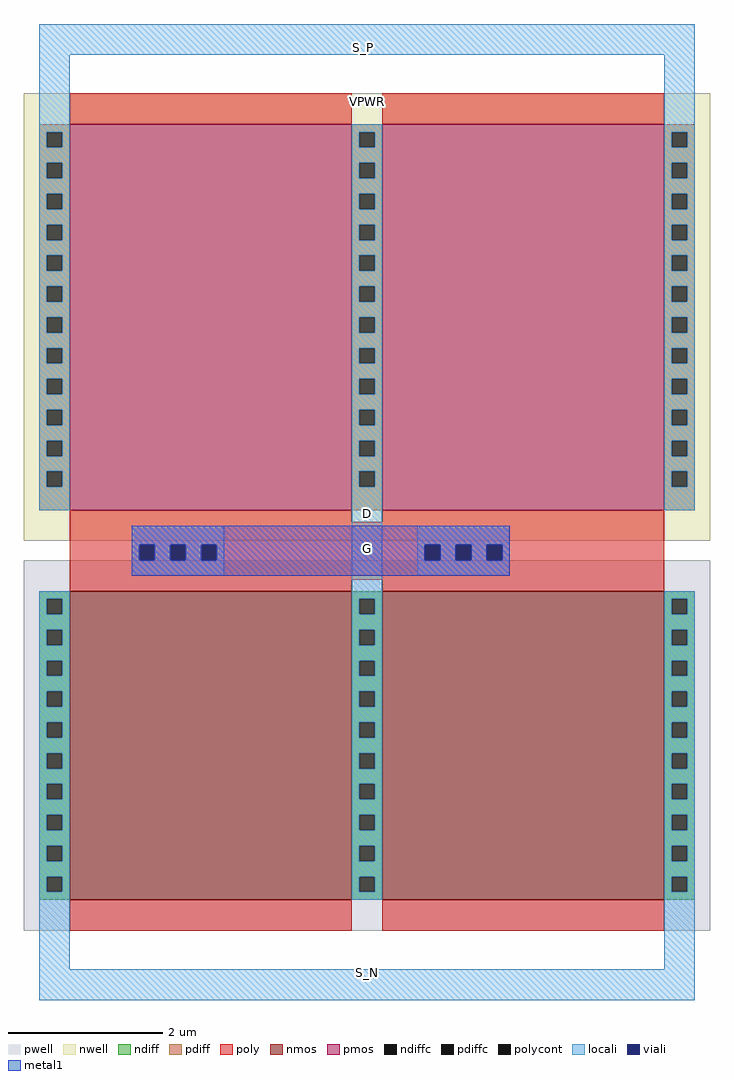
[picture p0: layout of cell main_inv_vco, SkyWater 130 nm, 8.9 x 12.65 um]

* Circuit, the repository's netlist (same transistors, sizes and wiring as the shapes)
* NGSPICE file created from main_inv_vco.ext - technology: sky130A

.subckt nmos_vco D G S VSUBS
X0 D G S VSUBS sky130_fd_pr__nfet_01v8 ad=0.8 pd=4.4 as=1.6 ps=8.8 w=4 l=3.65 M=2
.ends

.subckt pmos_vco D G S VPWR
X0 S G D VPWR sky130_fd_pr__pfet_01v8 ad=2 pd=10.8 as=1 ps=5.4 w=5 l=3.65 M=2
.ends

.subckt main_inv_vco D G S_P S_N VPWR
Xnmos_vco_0 D G S_N VSUBS nmos_vco
Xpmos_vco_0 D G S_P VPWR pmos_vco
.ends

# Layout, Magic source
magic
tech sky130A
<< nwell >>
rect 1425 500 1465 540
rect 1830 -40 1890 540
<< poly >>
rect 1060 -45 1425 -40
rect 1060 -65 1150 -45
rect 1170 -65 1190 -45
rect 1210 -65 1230 -45
rect 1250 -65 1425 -45
rect 1465 -45 1830 -40
rect 1465 -65 1520 -45
rect 1540 -65 1560 -45
rect 1580 -65 1600 -45
rect 1620 -65 1830 -45
<< polycont >>
rect 1150 -65 1170 -45
rect 1190 -65 1210 -45
rect 1230 -65 1250 -45
rect 1520 -65 1540 -45
rect 1560 -65 1580 -45
rect 1600 -65 1620 -45
<< locali >>
rect 1020 590 1870 630
rect 1020 500 1060 590
rect 1830 500 1870 590
rect 1140 -45 1260 -20
rect 1140 -65 1150 -45
rect 1170 -65 1190 -45
rect 1210 -65 1230 -45
rect 1250 -65 1260 -45
rect 1140 -85 1260 -65
rect 1425 -105 1465 0
rect 1510 -45 1630 -20
rect 1510 -65 1520 -45
rect 1540 -65 1560 -45
rect 1580 -65 1600 -45
rect 1620 -65 1630 -45
rect 1510 -85 1630 -65
rect 1020 -595 1060 -505
rect 1830 -595 1870 -505
rect 1020 -635 1870 -595
<< viali >>
rect 1150 -65 1170 -45
rect 1190 -65 1210 -45
rect 1230 -65 1250 -45
rect 1520 -65 1540 -45
rect 1560 -65 1580 -45
rect 1600 -65 1620 -45
<< metal1 >>
rect 1140 -45 1630 -20
rect 1140 -65 1150 -45
rect 1170 -65 1190 -45
rect 1210 -65 1230 -45
rect 1250 -65 1520 -45
rect 1540 -65 1560 -45
rect 1580 -65 1600 -45
rect 1620 -65 1630 -45
rect 1140 -85 1630 -65
use nmos_vco  nmos_vco_0
transform 1 0 1060 0 1 -505
box -60 -130 830 490
use pmos_vco  pmos_vco_0
transform 1 0 1060 0 1 0
box -60 -90 830 630
<< labels >>
rlabel locali 1445 -5 1445 -5 1 D
port 1 n
rlabel metal1 1445 -50 1445 -50 1 G
port 2 n
rlabel locali 1440 600 1440 600 1 S_P
port 3 n
rlabel locali 1445 -600 1445 -600 1 S_N
port 4 n
rlabel nwell 1445 530 1445 530 1 VPWR
port 5 n
<< end >>

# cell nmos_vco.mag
magic
tech sky130A
<< pwell >>
rect -60 -40 830 440
<< nmos >>
rect 0 0 365 400
rect 405 0 770 400
<< ndiff >>
rect -40 390 0 400
rect -40 370 -30 390
rect -10 370 0 390
rect -40 350 0 370
rect -40 330 -30 350
rect -10 330 0 350
rect -40 310 0 330
rect -40 290 -30 310
rect -10 290 0 310
rect -40 270 0 290
rect -40 250 -30 270
rect -10 250 0 270
rect -40 230 0 250
rect -40 210 -30 230
rect -10 210 0 230
rect -40 190 0 210
rect -40 170 -30 190
rect -10 170 0 190
rect -40 150 0 170
rect -40 130 -30 150
rect -10 130 0 150
rect -40 110 0 130
rect -40 90 -30 110
rect -10 90 0 110
rect -40 70 0 90
rect -40 50 -30 70
rect -10 50 0 70
rect -40 30 0 50
rect -40 10 -30 30
rect -10 10 0 30
rect -40 0 0 10
rect 365 390 405 400
rect 365 370 375 390
rect 395 370 405 390
rect 365 350 405 370
rect 365 330 375 350
rect 395 330 405 350
rect 365 310 405 330
rect 365 290 375 310
rect 395 290 405 310
rect 365 270 405 290
rect 365 250 375 270
rect 395 250 405 270
rect 365 230 405 250
rect 365 210 375 230
rect 395 210 405 230
rect 365 190 405 210
rect 365 170 375 190
rect 395 170 405 190
rect 365 150 405 170
rect 365 130 375 150
rect 395 130 405 150
rect 365 110 405 130
rect 365 90 375 110
rect 395 90 405 110
rect 365 70 405 90
rect 365 50 375 70
rect 395 50 405 70
rect 365 30 405 50
rect 365 10 375 30
rect 395 10 405 30
rect 365 0 405 10
rect 770 390 810 400
rect 770 370 780 390
rect 800 370 810 390
rect 770 350 810 370
rect 770 330 780 350
rect 800 330 810 350
rect 770 310 810 330
rect 770 290 780 310
rect 800 290 810 310
rect 770 270 810 290
rect 770 250 780 270
rect 800 250 810 270
rect 770 230 810 250
rect 770 210 780 230
rect 800 210 810 230
rect 770 190 810 210
rect 770 170 780 190
rect 800 170 810 190
rect 770 150 810 170
rect 770 130 780 150
rect 800 130 810 150
rect 770 110 810 130
rect 770 90 780 110
rect 800 90 810 110
rect 770 70 810 90
rect 770 50 780 70
rect 800 50 810 70
rect 770 30 810 50
rect 770 10 780 30
rect 800 10 810 30
rect 770 0 810 10
<< ndiffc >>
rect -30 370 -10 390
rect -30 330 -10 350
rect -30 290 -10 310
rect -30 250 -10 270
rect -30 210 -10 230
rect -30 170 -10 190
rect -30 130 -10 150
rect -30 90 -10 110
rect -30 50 -10 70
rect -30 10 -10 30
rect 375 370 395 390
rect 375 330 395 350
rect 375 290 395 310
rect 375 250 395 270
rect 375 210 395 230
rect 375 170 395 190
rect 375 130 395 150
rect 375 90 395 110
rect 375 50 395 70
rect 375 10 395 30
rect 780 370 800 390
rect 780 330 800 350
rect 780 290 800 310
rect 780 250 800 270
rect 780 210 800 230
rect 780 170 800 190
rect 780 130 800 150
rect 780 90 800 110
rect 780 50 800 70
rect 780 10 800 30
<< poly >>
rect 0 440 770 490
rect 0 400 365 440
rect 405 400 770 440
rect 0 -40 365 0
rect 405 -40 770 0
<< locali >>
rect -40 390 0 400
rect -40 370 -30 390
rect -10 370 0 390
rect -40 350 0 370
rect -40 330 -30 350
rect -10 330 0 350
rect -40 310 0 330
rect -40 290 -30 310
rect -10 290 0 310
rect -40 270 0 290
rect -40 250 -30 270
rect -10 250 0 270
rect -40 230 0 250
rect -40 210 -30 230
rect -10 210 0 230
rect -40 190 0 210
rect -40 170 -30 190
rect -10 170 0 190
rect -40 150 0 170
rect -40 130 -30 150
rect -10 130 0 150
rect -40 110 0 130
rect -40 90 -30 110
rect -10 90 0 110
rect -40 70 0 90
rect -40 50 -30 70
rect -10 50 0 70
rect -40 30 0 50
rect -40 10 -30 30
rect -10 10 0 30
rect -40 -90 0 10
rect 365 390 405 400
rect 365 370 375 390
rect 395 370 405 390
rect 365 350 405 370
rect 365 330 375 350
rect 395 330 405 350
rect 365 310 405 330
rect 365 290 375 310
rect 395 290 405 310
rect 365 270 405 290
rect 365 250 375 270
rect 395 250 405 270
rect 365 230 405 250
rect 365 210 375 230
rect 395 210 405 230
rect 365 190 405 210
rect 365 170 375 190
rect 395 170 405 190
rect 365 150 405 170
rect 365 130 375 150
rect 395 130 405 150
rect 365 110 405 130
rect 365 90 375 110
rect 395 90 405 110
rect 365 70 405 90
rect 365 50 375 70
rect 395 50 405 70
rect 365 30 405 50
rect 365 10 375 30
rect 395 10 405 30
rect 365 0 405 10
rect 770 390 810 400
rect 770 370 780 390
rect 800 370 810 390
rect 770 350 810 370
rect 770 330 780 350
rect 800 330 810 350
rect 770 310 810 330
rect 770 290 780 310
rect 800 290 810 310
rect 770 270 810 290
rect 770 250 780 270
rect 800 250 810 270
rect 770 230 810 250
rect 770 210 780 230
rect 800 210 810 230
rect 770 190 810 210
rect 770 170 780 190
rect 800 170 810 190
rect 770 150 810 170
rect 770 130 780 150
rect 800 130 810 150
rect 770 110 810 130
rect 770 90 780 110
rect 800 90 810 110
rect 770 70 810 90
rect 770 50 780 70
rect 800 50 810 70
rect 770 30 810 50
rect 770 10 780 30
rect 800 10 810 30
rect 770 -90 810 10
rect -40 -130 810 -90
<< labels >>
rlabel locali 385 5 385 5 5 D
port 1 s
rlabel poly 385 470 385 470 1 G
port 2 n
rlabel locali 385 -110 385 -110 1 S
port 3 n
<< end >>

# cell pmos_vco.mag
magic
tech sky130A
<< nwell >>
rect -60 -40 830 540
<< pmos >>
rect 0 0 365 500
rect 405 0 770 500
<< pdiff >>
rect -40 490 0 500
rect -40 470 -30 490
rect -10 470 0 490
rect -40 450 0 470
rect -40 430 -30 450
rect -10 430 0 450
rect -40 410 0 430
rect -40 390 -30 410
rect -10 390 0 410
rect -40 370 0 390
rect -40 350 -30 370
rect -10 350 0 370
rect -40 330 0 350
rect -40 310 -30 330
rect -10 310 0 330
rect -40 290 0 310
rect -40 270 -30 290
rect -10 270 0 290
rect -40 250 0 270
rect -40 230 -30 250
rect -10 230 0 250
rect -40 210 0 230
rect -40 190 -30 210
rect -10 190 0 210
rect -40 170 0 190
rect -40 150 -30 170
rect -10 150 0 170
rect -40 130 0 150
rect -40 110 -30 130
rect -10 110 0 130
rect -40 90 0 110
rect -40 70 -30 90
rect -10 70 0 90
rect -40 50 0 70
rect -40 30 -30 50
rect -10 30 0 50
rect -40 0 0 30
rect 365 490 405 500
rect 365 470 375 490
rect 395 470 405 490
rect 365 450 405 470
rect 365 430 375 450
rect 395 430 405 450
rect 365 410 405 430
rect 365 390 375 410
rect 395 390 405 410
rect 365 370 405 390
rect 365 350 375 370
rect 395 350 405 370
rect 365 330 405 350
rect 365 310 375 330
rect 395 310 405 330
rect 365 290 405 310
rect 365 270 375 290
rect 395 270 405 290
rect 365 250 405 270
rect 365 230 375 250
rect 395 230 405 250
rect 365 210 405 230
rect 365 190 375 210
rect 395 190 405 210
rect 365 170 405 190
rect 365 150 375 170
rect 395 150 405 170
rect 365 130 405 150
rect 365 110 375 130
rect 395 110 405 130
rect 365 90 405 110
rect 365 70 375 90
rect 395 70 405 90
rect 365 50 405 70
rect 365 30 375 50
rect 395 30 405 50
rect 365 0 405 30
rect 770 490 810 500
rect 770 470 780 490
rect 800 470 810 490
rect 770 450 810 470
rect 770 430 780 450
rect 800 430 810 450
rect 770 410 810 430
rect 770 390 780 410
rect 800 390 810 410
rect 770 370 810 390
rect 770 350 780 370
rect 800 350 810 370
rect 770 330 810 350
rect 770 310 780 330
rect 800 310 810 330
rect 770 290 810 310
rect 770 270 780 290
rect 800 270 810 290
rect 770 250 810 270
rect 770 230 780 250
rect 800 230 810 250
rect 770 210 810 230
rect 770 190 780 210
rect 800 190 810 210
rect 770 170 810 190
rect 770 150 780 170
rect 800 150 810 170
rect 770 130 810 150
rect 770 110 780 130
rect 800 110 810 130
rect 770 90 810 110
rect 770 70 780 90
rect 800 70 810 90
rect 770 50 810 70
rect 770 30 780 50
rect 800 30 810 50
rect 770 0 810 30
<< pdiffc >>
rect -30 470 -10 490
rect -30 430 -10 450
rect -30 390 -10 410
rect -30 350 -10 370
rect -30 310 -10 330
rect -30 270 -10 290
rect -30 230 -10 250
rect -30 190 -10 210
rect -30 150 -10 170
rect -30 110 -10 130
rect -30 70 -10 90
rect -30 30 -10 50
rect 375 470 395 490
rect 375 430 395 450
rect 375 390 395 410
rect 375 350 395 370
rect 375 310 395 330
rect 375 270 395 290
rect 375 230 395 250
rect 375 190 395 210
rect 375 150 395 170
rect 375 110 395 130
rect 375 70 395 90
rect 375 30 395 50
rect 780 470 800 490
rect 780 430 800 450
rect 780 390 800 410
rect 780 350 800 370
rect 780 310 800 330
rect 780 270 800 290
rect 780 230 800 250
rect 780 190 800 210
rect 780 150 800 170
rect 780 110 800 130
rect 780 70 800 90
rect 780 30 800 50
<< poly >>
rect 0 500 365 540
rect 405 500 770 540
rect 0 -40 365 0
rect 405 -40 770 0
rect 0 -90 770 -40
<< locali >>
rect -40 590 810 630
rect -40 490 0 590
rect -40 470 -30 490
rect -10 470 0 490
rect -40 450 0 470
rect -40 430 -30 450
rect -10 430 0 450
rect -40 410 0 430
rect -40 390 -30 410
rect -10 390 0 410
rect -40 370 0 390
rect -40 350 -30 370
rect -10 350 0 370
rect -40 330 0 350
rect -40 310 -30 330
rect -10 310 0 330
rect -40 290 0 310
rect -40 270 -30 290
rect -10 270 0 290
rect -40 250 0 270
rect -40 230 -30 250
rect -10 230 0 250
rect -40 210 0 230
rect -40 190 -30 210
rect -10 190 0 210
rect -40 170 0 190
rect -40 150 -30 170
rect -10 150 0 170
rect -40 130 0 150
rect -40 110 -30 130
rect -10 110 0 130
rect -40 90 0 110
rect -40 70 -30 90
rect -10 70 0 90
rect -40 50 0 70
rect -40 30 -30 50
rect -10 30 0 50
rect -40 0 0 30
rect 365 490 405 500
rect 365 470 375 490
rect 395 470 405 490
rect 365 450 405 470
rect 365 430 375 450
rect 395 430 405 450
rect 365 410 405 430
rect 365 390 375 410
rect 395 390 405 410
rect 365 370 405 390
rect 365 350 375 370
rect 395 350 405 370
rect 365 330 405 350
rect 365 310 375 330
rect 395 310 405 330
rect 365 290 405 310
rect 365 270 375 290
rect 395 270 405 290
rect 365 250 405 270
rect 365 230 375 250
rect 395 230 405 250
rect 365 210 405 230
rect 365 190 375 210
rect 395 190 405 210
rect 365 170 405 190
rect 365 150 375 170
rect 395 150 405 170
rect 365 130 405 150
rect 365 110 375 130
rect 395 110 405 130
rect 365 90 405 110
rect 365 70 375 90
rect 395 70 405 90
rect 365 50 405 70
rect 365 30 375 50
rect 395 30 405 50
rect 365 0 405 30
rect 770 490 810 590
rect 770 470 780 490
rect 800 470 810 490
rect 770 450 810 470
rect 770 430 780 450
rect 800 430 810 450
rect 770 410 810 430
rect 770 390 780 410
rect 800 390 810 410
rect 770 370 810 390
rect 770 350 780 370
rect 800 350 810 370
rect 770 330 810 350
rect 770 310 780 330
rect 800 310 810 330
rect 770 290 810 310
rect 770 270 780 290
rect 800 270 810 290
rect 770 250 810 270
rect 770 230 780 250
rect 800 230 810 250
rect 770 210 810 230
rect 770 190 780 210
rect 800 190 810 210
rect 770 170 810 190
rect 770 150 780 170
rect 800 150 810 170
rect 770 130 810 150
rect 770 110 780 130
rect 800 110 810 130
rect 770 90 810 110
rect 770 70 780 90
rect 800 70 810 90
rect 770 50 810 70
rect 770 30 780 50
rect 800 30 810 50
rect 770 0 810 30
<< labels >>
rlabel locali 385 495 385 495 1 D
port 1 n
rlabel poly 385 -70 385 -70 1 G
port 2 n
rlabel locali 385 610 385 610 1 S
port 3 n
rlabel nwell 385 520 385 520 1 VPWR
port 4 n
<< end >>
